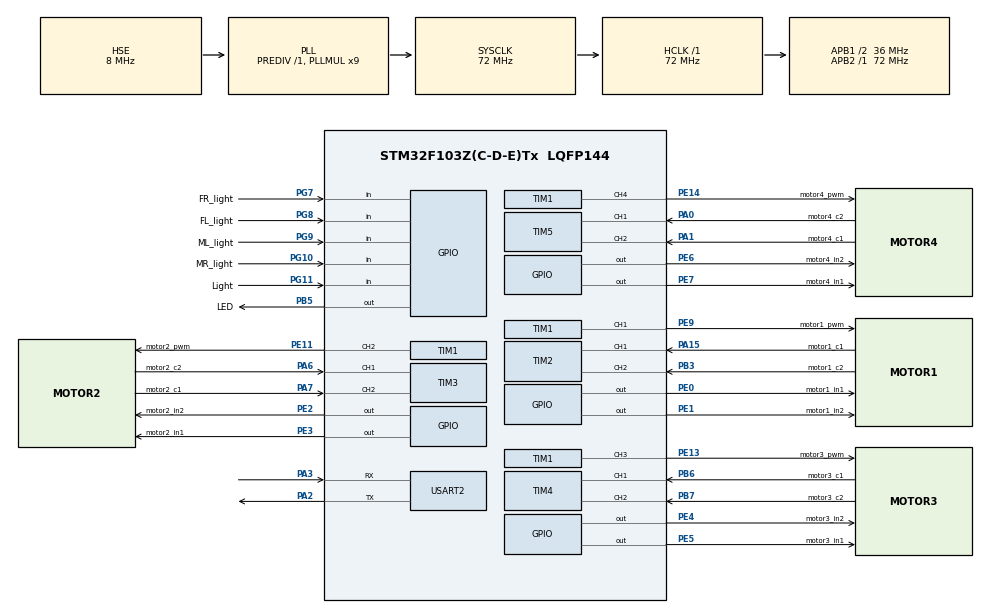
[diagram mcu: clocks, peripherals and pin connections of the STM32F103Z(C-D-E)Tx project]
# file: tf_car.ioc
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Mcu.Family=STM32F1
Mcu.Name=STM32F103Z(C-D-E)Tx
Mcu.Package=LQFP144
NVIC.PriorityGroup=NVIC_PRIORITYGROUP_4
NVIC.TIM2_IRQn=true\:0\:0\:true\:false\:true\:true\:true\:true
NVIC.TIM3_IRQn=true\:0\:0\:true\:false\:true\:true\:true\:true
NVIC.TIM4_IRQn=true\:0\:0\:true\:false\:true\:true\:true\:true
NVIC.TIM5_IRQn=true\:0\:0\:true\:false\:true\:true\:true\:true
NVIC.TIM6_IRQn=true\:0\:0\:false\:false\:true\:true\:true\:true
NVIC.USART2_IRQn=true\:0\:0\:true\:false\:true\:true\:true\:true
OSC_IN.Mode=HSE-External-Oscillator
OSC_IN.Signal=RCC_OSC_IN
OSC_OUT.Mode=HSE-External-Oscillator
OSC_OUT.Signal=RCC_OSC_OUT
PA0-WKUP.GPIO_Label=motor4_c2
PA0-WKUP.GPIO_PuPd=GPIO_PULLUP
PA0-WKUP.Signal=S_TIM5_CH1
PA1.GPIO_Label=motor4_c1
PA1.GPIO_PuPd=GPIO_PULLUP
PA1.Signal=S_TIM5_CH2
PA13.Mode=Serial_Wire
PA13.Signal=SYS_JTMS-SWDIO
PA14.Mode=Serial_Wire
PA14.Signal=SYS_JTCK-SWCLK
PA15.GPIO_Label=motor1_c1
PA15.GPIO_PuPd=GPIO_PULLUP
PA15.Signal=S_TIM2_CH1_ETR
PA2.Mode=Asynchronous
PA2.Signal=USART2_TX
PA3.Mode=Asynchronous
PA3.Signal=USART2_RX
PA6.GPIO_Label=motor2_c2
PA6.GPIO_PuPd=GPIO_PULLUP
PA6.Signal=S_TIM3_CH1
PA7.GPIO_Label=motor2_c1
PA7.GPIO_PuPd=GPIO_PULLUP
PA7.Signal=S_TIM3_CH2
PB3.GPIO_Label=motor1_c2
PB3.GPIO_PuPd=GPIO_PULLUP
PB3.Signal=S_TIM2_CH2
PB5.GPIO_Label=LED
PB5.Signal=GPIO_Output
PB6.GPIO_Label=motor3_c1
PB6.GPIO_PuPd=GPIO_PULLUP
PB6.Signal=S_TIM4_CH1
PB7.GPIO_Label=motor3_c2
PB7.GPIO_PuPd=GPIO_PULLUP
PB7.Signal=S_TIM4_CH2
PE0.GPIO_Label=motor1_in1
PE0.Signal=GPIO_Output
PE1.GPIO_Label=motor1_in2
PE1.Signal=GPIO_Output
PE11.GPIO_Label=motor2_pwm
PE11.Signal=S_TIM1_CH2
PE13.GPIO_Label=motor3_pwm
PE13.Signal=S_TIM1_CH3
PE14.GPIO_Label=motor4_pwm
PE14.Signal=S_TIM1_CH4
PE2.GPIO_Label=motor2_in2
PE2.Signal=GPIO_Output
PE3.GPIO_Label=motor2_in1
PE3.Signal=GPIO_Output
PE4.GPIO_Label=motor3_in2
PE4.Signal=GPIO_Output
PE5.GPIO_Label=motor3_in1
PE5.Signal=GPIO_Output
PE6.GPIO_Label=motor4_in2
PE6.Signal=GPIO_Output
PE7.GPIO_Label=motor4_in1
PE7.Signal=GPIO_Output
PE9.GPIO_Label=motor1_pwm
PE9.Signal=S_TIM1_CH1
PG10.GPIO_Label=MR_light
PG10.Signal=GPIO_Input
PG11.GPIO_Label=Light
PG11.Signal=GPIO_Input
PG7.GPIO_Label=FR_light
PG7.Signal=GPIO_Input
PG8.GPIO_Label=FL_light
PG8.Signal=GPIO_Input
PG9.GPIO_Label=ML_light
PG9.Signal=GPIO_Input
ProjectManager.HeapSize=0x200
ProjectManager.StackSize=0x400
ProjectManager.TargetToolchain=MDK-ARM V5.32
RCC.AHBFreq_Value=72000000
RCC.APB1CLKDivider=RCC_HCLK_DIV2
RCC.APB1Freq_Value=36000000
RCC.APB1TimFreq_Value=72000000
RCC.APB2Freq_Value=72000000
RCC.APB2TimFreq_Value=72000000
RCC.HCLKFreq_Value=72000000
RCC.PLLMUL=RCC_PLL_MUL9
RCC.PLLSourceVirtual=RCC_PLLSOURCE_HSE
RCC.SYSCLKFreq_VALUE=72000000
RCC.SYSCLKSource=RCC_SYSCLKSOURCE_PLLCLK
RCC.USBFreq_Value=72000000
SH.S_TIM1_CH1.0=TIM1_CH1,PWM Generation1 CH1
SH.S_TIM1_CH2.0=TIM1_CH2,PWM Generation2 CH2
SH.S_TIM1_CH3.0=TIM1_CH3,PWM Generation3 CH3
SH.S_TIM1_CH4.0=TIM1_CH4,PWM Generation4 CH4
SH.S_TIM2_CH1_ETR.0=TIM2_CH1,Encoder_Interface
SH.S_TIM2_CH2.0=TIM2_CH2,Encoder_Interface
SH.S_TIM3_CH1.0=TIM3_CH1,Encoder_Interface
SH.S_TIM3_CH2.0=TIM3_CH2,Encoder_Interface
SH.S_TIM4_CH1.0=TIM4_CH1,Encoder_Interface
SH.S_TIM4_CH2.0=TIM4_CH2,Encoder_Interface
SH.S_TIM5_CH1.0=TIM5_CH1,Encoder_Interface
SH.S_TIM5_CH2.0=TIM5_CH2,Encoder_Interface
TIM1.AutoReloadPreload=TIM_AUTORELOAD_PRELOAD_ENABLE
TIM1.Channel-PWM\ Generation1\ CH1=TIM_CHANNEL_1
TIM1.Channel-PWM\ Generation2\ CH2=TIM_CHANNEL_2
TIM1.Channel-PWM\ Generation3\ CH3=TIM_CHANNEL_3
TIM1.Channel-PWM\ Generation4\ CH4=TIM_CHANNEL_4
TIM1.Period=100-1
TIM1.Prescaler=1440-1
TIM1.Pulse-PWM\ Generation1\ CH1=50
TIM1.Pulse-PWM\ Generation2\ CH2=50
TIM1.Pulse-PWM\ Generation3\ CH3=50
TIM1.Pulse-PWM\ Generation4\ CH4=50
TIM2.EncoderMode=TIM_ENCODERMODE_TI12
TIM2.IC1Filter=6
TIM2.IC2Filter=6
TIM3.EncoderMode=TIM_ENCODERMODE_TI12
TIM3.IC1Filter=6
TIM3.IC2Filter=6
TIM4.EncoderMode=TIM_ENCODERMODE_TI12
TIM4.IC1Filter=6
TIM4.IC2Filter=6
TIM5.EncoderMode=TIM_ENCODERMODE_TI12
TIM5.IC1Filter=6
TIM5.IC2Filter=6
TIM6.Period=100-1
TIM6.Prescaler=720-1
USART2.VirtualMode=VM_ASYNC
VP_TIM6_VS_ClockSourceINT.Mode=Enable_Timer
board=custom

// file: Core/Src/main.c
/* USER CODE BEGIN Header */
/**
  ******************************************************************************
  * @file           : main.c
  * @brief          : Main program body
  ******************************************************************************
  * @attention
  *
  * Copyright (c) 2023 STMicroelectronics.
  * All rights reserved.
  *
  * This software is licensed under terms that can be found in the LICENSE file
  * in the root directory of this software component.
  * If no LICENSE file comes with this software, it is provided AS-IS.
  *
  ******************************************************************************
  */
/* USER CODE END Header */
#include "main.h"
#include "tim.h"
#include "usart.h"
#include "gpio.h"

/* USER CODE BEGIN Includes */
#include "stdio.h"
#include "motor.h"
#include "encoder.h"
#include "pid.h"
#include "bsp_usart.h"
#include "bsp_tim.h"
#include "bsp_tim.h"
#include "move.h"
/* USER CODE END Includes */

void SystemClock_Config(void);
/* USER CODE BEGIN PFP */
void HAL_TIM_PeriodElapasedCallback(TIM_HandleTypeDef *htim);
/* USER CODE END PFP */

/* USER CODE BEGIN 0 */
extern short encoder1count;
extern short encoder2count;
extern short encoder3count;
extern short encoder4count;
extern tpid pid1,pid2,pid3,pid4;
extern float p,i,d,a;
float v1,v2,v3,v4;
/* USER CODE END 0 */

int main(void)
{

  /* MCU Configuration--------------------------------------------------------*/

  /* Reset of all peripherals, Initializes the Flash interface and the Systick. */
  HAL_Init();

  /* Configure the system clock */
  SystemClock_Config();

  /* Initialize all configured peripherals */
  MX_GPIO_Init();
  MX_USART2_UART_Init();
  MX_TIM1_Init();
  MX_TIM2_Init();
  MX_TIM3_Init();
  MX_TIM4_Init();
  MX_TIM5_Init();
  MX_TIM6_Init();
  /* USER CODE BEGIN 2 */
	HAL_TIM_Base_Start_IT(&htim6);             //����ʱ��
	motor_encoder_init();
	motor_pwm_init();
	pid_init();
	__HAL_UART_ENABLE_IT(&huart2,UART_IT_RXNE);
	v1=0;
	v2=0;
	v3=0;
	v4=0;
  /* USER CODE END 2 */

  /* Infinite loop */
  /* USER CODE BEGIN WHILE */
  while (1)
  {
		if(FL_LIGHT ==0 && FR_LIGHT ==1)
		{
			v1=50;
			v3=10;
			v2=10;
			v4=50;
		}
		else if(FL_LIGHT ==1 && FR_LIGHT ==0)
		{
			v1=10;
			v3=50;
			v2=50;
			v4=10;
		}
		else
		{
			v1=50;
			v3=50;
			v2=50;
			v4=50;
		}
    /* USER CODE END WHILE */

    /* USER CODE BEGIN 3 */

//		HAL_Delay(500);
//		motor_pwm_set(-40,-40,-40,-40);
//		uint8_t c_Data[]="����̫��\r\n";
//		HAL_UART_Transmit(&huart2,c_Data,sizeof(c_Data),0xffff);
		handler_data(&pid1);
//		printf("1:%d\r\n",encoder1count);
//		printf("2:%d\r\n",encoder2count);
//		printf("3:%d\r\n",encoder3count);
//		printf("4:%d\r\n",encoder4count);
		HAL_Delay(10);
  }
  /* USER CODE END 3 */
}

void SystemClock_Config(void)
{
  RCC_OscInitTypeDef RCC_OscInitStruct = {0};
  RCC_ClkInitTypeDef RCC_ClkInitStruct = {0};

  /** Initializes the RCC Oscillators according to the specified parameters
  * in the RCC_OscInitTypeDef structure.
  */
  RCC_OscInitStruct.OscillatorType = RCC_OSCILLATORTYPE_HSE;
  RCC_OscInitStruct.HSEState = RCC_HSE_ON;
  RCC_OscInitStruct.HSEPredivValue = RCC_HSE_PREDIV_DIV1;
  RCC_OscInitStruct.HSIState = RCC_HSI_ON;
  RCC_OscInitStruct.PLL.PLLState = RCC_PLL_ON;
  RCC_OscInitStruct.PLL.PLLSource = RCC_PLLSOURCE_HSE;
  RCC_OscInitStruct.PLL.PLLMUL = RCC_PLL_MUL9;
  if (HAL_RCC_OscConfig(&RCC_OscInitStruct) != HAL_OK)
  {
    Error_Handler();
  }

  /** Initializes the CPU, AHB and APB buses clocks
  */
  RCC_ClkInitStruct.ClockType = RCC_CLOCKTYPE_HCLK|RCC_CLOCKTYPE_SYSCLK
                              |RCC_CLOCKTYPE_PCLK1|RCC_CLOCKTYPE_PCLK2;
  RCC_ClkInitStruct.SYSCLKSource = RCC_SYSCLKSOURCE_PLLCLK;
  RCC_ClkInitStruct.AHBCLKDivider = RCC_SYSCLK_DIV1;
  RCC_ClkInitStruct.APB1CLKDivider = RCC_HCLK_DIV2;
  RCC_ClkInitStruct.APB2CLKDivider = RCC_HCLK_DIV1;

  if (HAL_RCC_ClockConfig(&RCC_ClkInitStruct, FLASH_LATENCY_2) != HAL_OK)
  {
    Error_Handler();
  }
}

/* USER CODE BEGIN 4 */
extern float motor1speed;
extern float motor2speed;
extern float motor3speed;
extern float motor4speed;
extern float motor1mileage;
extern float motor2mileage;
extern float motor3mileage;
extern float motor4mileage;
extern tpid pid1,pid2,pid3,pid4,pid1s;
uint16_t timercount=0;
uint16_t timercount1=0;
int position_control_flag=0;
void HAL_TIM_PeriodElapsedCallback(TIM_HandleTypeDef *htim)
{
   	if(htim == &htim6)//1ms 1000hz
	{
		timercount++;
		timercount1++;
//		if(timercount1<=5000)
//		{
//			v2=80;
//		}
//		else{
//			v2=0;
//		}
		if(timercount%10 == 0)//10ms�����ٶ�
		{
			motor_encoder_getdata();
		}
		if(timercount%20 == 0)//20ms�����ٶ�
		{

			if(position_control_flag==1)
			{
					motor_getmmileage();
					pid1s.target_val=6000;
					pid_realize_s(&pid1s,motor1mileage);
				motor_speedpid_conrol(pid1s.out,pid1s.out,pid1s.out,pid1s.out);
			}
			else
			{
				motor1mileage=0;
				motor2mileage=0;
				motor3mileage=0;
				motor4mileage=0;
				motor_speedpid_conrol(v1,v2,v3,v4);
//				motor_speedopenloop_conrol(40,40,40,40);
				printf("%.2f,%.2f,%.2f\n",motor4speed,pid4.err,pid4.out);
			}
			timercount=0;
		}
	}
}

/* USER CODE END 4 */

void Error_Handler(void)
{
  __disable_irq();
  while (1)
  {
  }
}
